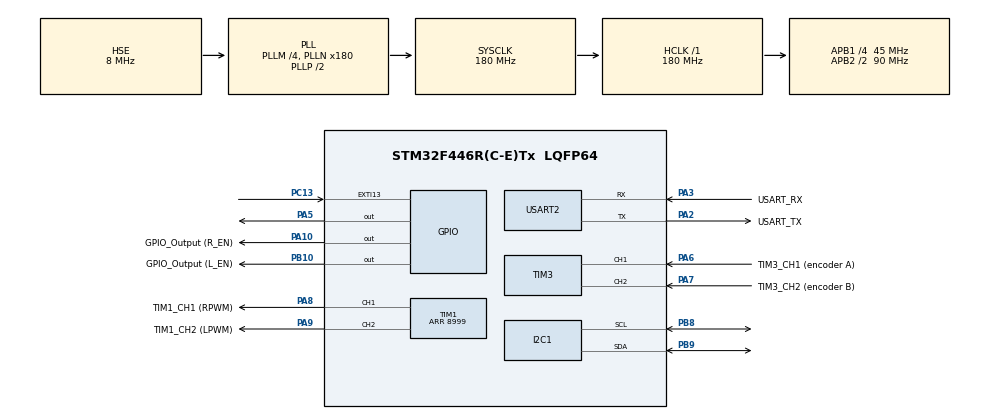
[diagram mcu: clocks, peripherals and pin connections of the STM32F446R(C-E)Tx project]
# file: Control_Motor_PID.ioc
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I2C1.I2C_Mode=I2C_Fast
Mcu.Family=STM32F4
Mcu.Name=STM32F446R(C-E)Tx
Mcu.Package=LQFP64
NUCLEO-F446RE.BUTTON=1
NUCLEO-F446RE.LD1=true
NVIC.EXTI15_10_IRQn=true\:0\:0\:false\:false\:true\:false\:true\:true
NVIC.PriorityGroup=NVIC_PRIORITYGROUP_0
NVIC.TIM2_IRQn=true\:0\:0\:false\:false\:true\:true\:true\:true
NVIC.USART2_IRQn=true\:0\:0\:false\:false\:true\:true\:true\:true
PA10.GPIO_Label=GPIO_Output (R_EN)
PA10.Signal=GPIO_Output
PA13.GPIO_Label=TMS
PA13.Mode=Serial_Wire
PA13.Signal=SYS_JTMS-SWDIO
PA14.GPIO_Label=TCK
PA14.Mode=Serial_Wire
PA14.Signal=SYS_JTCK-SWCLK
PA2.GPIO_Label=USART_TX
PA2.Mode=Asynchronous
PA2.Signal=USART2_TX
PA3.GPIO_Label=USART_RX
PA3.Mode=Asynchronous
PA3.Signal=USART2_RX
PA5.Signal=GPIO_Output
PA6.GPIO_Label=TIM3_CH1 (encoder A)
PA6.Signal=S_TIM3_CH1
PA7.GPIO_Label=TIM3_CH2 (encoder B)
PA7.Signal=S_TIM3_CH2
PA8.GPIO_Label=TIM1_CH1 (RPWM)
PA8.Signal=S_TIM1_CH1
PA9.GPIO_Label=TIM1_CH2 (LPWM)
PA9.Signal=S_TIM1_CH2
PB10.GPIO_Label=GPIO_Output (L_EN)
PB10.Signal=GPIO_Output
PB3.GPIO_Label=SWO
PB3.Signal=SYS_JTDO-SWO
PB8.Mode=I2C
PB8.Signal=I2C1_SCL
PB9.Mode=I2C
PB9.Signal=I2C1_SDA
PC13.Signal=GPXTI13
PC14-OSC32_IN.Signal=RCC_OSC32_IN
PC15-OSC32_OUT.Signal=RCC_OSC32_OUT
PH0-OSC_IN.Mode=HSE-External-Clock-Source
PH0-OSC_IN.Signal=RCC_OSC_IN
PH1-OSC_OUT.Mode=HSE-External-Clock-Source
PH1-OSC_OUT.Signal=RCC_OSC_OUT
ProjectManager.HeapSize=0x200
ProjectManager.StackSize=0x400
ProjectManager.TargetToolchain=CMake
RCC.AHBFreq_Value=180000000
RCC.APB1CLKDivider=RCC_HCLK_DIV4
RCC.APB1Freq_Value=45000000
RCC.APB1TimFreq_Value=90000000
RCC.APB2CLKDivider=RCC_HCLK_DIV2
RCC.APB2Freq_Value=90000000
RCC.APB2TimFreq_Value=180000000
RCC.CortexFreq_Value=180000000
RCC.FLatency-AdvancedSettings=FLASH_LATENCY_5
RCC.HCLKFreq_Value=180000000
RCC.HSE_VALUE=8000000
RCC.HSI_VALUE=16000000
RCC.LSE_VALUE=32768
RCC.PLLM=4
RCC.PLLN=180
RCC.PLLSourceVirtual=RCC_PLLSOURCE_HSE
RCC.SYSCLKFreq_VALUE=180000000
RCC.SYSCLKSource=RCC_SYSCLKSOURCE_PLLCLK
RCC.USBFreq_Value=180000000
RCC.VCOOutputFreq_Value=360000000
SH.S_TIM1_CH1.0=TIM1_CH1,PWM Generation1 CH1
SH.S_TIM1_CH2.0=TIM1_CH2,PWM Generation2 CH2
SH.S_TIM3_CH1.0=TIM3_CH1,Encoder_Interface
SH.S_TIM3_CH2.0=TIM3_CH2,Encoder_Interface
TIM1.AutoReloadPreload=TIM_AUTORELOAD_PRELOAD_ENABLE
TIM1.Channel-PWM\ Generation1\ CH1=TIM_CHANNEL_1
TIM1.Channel-PWM\ Generation2\ CH2=TIM_CHANNEL_2
TIM1.Period=8999
TIM2.AutoReloadPreload=TIM_AUTORELOAD_PRELOAD_ENABLE
TIM2.Period=899999
TIM3.EncoderMode=TIM_ENCODERMODE_TI12
USART2.VirtualMode=VM_ASYNC
VP_NUCLEO-F446RE_VS_BSP_COMMON.Mode=COMMON
VP_TIM1_VS_ClockSourceINT.Mode=Internal
VP_TIM2_VS_ClockSourceINT.Mode=Internal
board=NUCLEO-F446RE

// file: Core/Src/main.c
/* USER CODE BEGIN Header */
/**
  ******************************************************************************
  * @file           : main.c
  * @brief          : Main program body
  ******************************************************************************
  * @attention
  *
  * Copyright (c) 2026 STMicroelectronics.
  * All rights reserved.
  *
  * This software is licensed under terms that can be found in the LICENSE file
  * in the root directory of this software component.
  * If no LICENSE file comes with this software, it is provided AS-IS.
  *
  ******************************************************************************
  */
/* USER CODE END Header */
#include "main.h"

/* USER CODE BEGIN Includes */
#include "control_velocidad.h"
#include "pantalla_oled.h"
#include "telemetria_serial.h"
#include "experimento_pwm.h"
#include "comando_serial.h"
/* USER CODE END Includes */

I2C_HandleTypeDef hi2c1;

TIM_HandleTypeDef htim1;
TIM_HandleTypeDef htim2;
TIM_HandleTypeDef htim3;

UART_HandleTypeDef huart2;

void SystemClock_Config(void);
static void MX_GPIO_Init(void);
static void MX_TIM1_Init(void);
static void MX_TIM3_Init(void);
static void MX_TIM2_Init(void);
static void MX_I2C1_Init(void);
static void MX_USART2_UART_Init(void);

int main(void)
{

  /* MCU Configuration--------------------------------------------------------*/

  /* Reset of all peripherals, Initializes the Flash interface and the Systick. */
  HAL_Init();

  /* Configure the system clock */
  SystemClock_Config();

  /* Initialize all configured peripherals */
  MX_GPIO_Init();
  MX_TIM1_Init();
  MX_TIM3_Init();
  MX_TIM2_Init();
  MX_I2C1_Init();
  MX_USART2_UART_Init();
  /* USER CODE BEGIN 2 */
  HAL_TIM_Encoder_Start(&htim3, TIM_CHANNEL_ALL); // Inicia el encoder

  HAL_TIM_PWM_Start(&htim1, TIM_CHANNEL_1); // Inicia el PWM en el canal 1
  HAL_TIM_PWM_Start(&htim1, TIM_CHANNEL_2); // Inicia el PWM en el canal 2

  HAL_TIM_Base_Start_IT(&htim2); //Inicia el timer 2 y habilita la interrupción para el timer 2

  /* Orden que pide control_velocidad.h: timers arrancados, luego la pantalla, luego el control. */
  pantalla_oled_inicializar(&hi2c1);   /* hi2c1: lo genera CubeMX al activar I2C1 */
  control_velocidad_iniciar();         /* deja el motor parado en IDLE */
  control_velocidad_fijar_referencia(200.0f); /* referencia de prueba del PI: 200 RPM */
  experimento_pwm_iniciar();           /* experimentos de identificacion: referencia en 0, espera el boton */
  comando_serial_iniciar();            /* escucha la referencia por la terminal serie */
  /* USER CODE END 2 */

  /* Initialize leds */
  BSP_LED_Init(LED2);

  /* Initialize USER push-button, will be used to trigger an interrupt each time it's pressed.*/
  BSP_PB_Init(BUTTON_USER, BUTTON_MODE_EXTI);

  /* Infinite loop */
  while (1)
  {

    /* USER CODE BEGIN 3 */
    control_velocidad_ejecutar();  /* medir -> calcular -> actuar (cada 10 ms) */
    comando_serial_actualizar();   /* nueva referencia escrita en la terminal (ej. 150 + Enter) */
    experimento_pwm_actualizar();    /* escalon / PRBS9: manda los datos por serial al terminar cada prueba */
    if (!experimento_pwm_activo()) {
      telemetria_serial_actualizar();  /* RPM por puerto serie cada 100 ms */
    }
  }
  /* USER CODE END 3 */
}

void SystemClock_Config(void)
{
  RCC_OscInitTypeDef RCC_OscInitStruct = {0};
  RCC_ClkInitTypeDef RCC_ClkInitStruct = {0};

  /** Configure the main internal regulator output voltage
  */
  __HAL_RCC_PWR_CLK_ENABLE();
  __HAL_PWR_VOLTAGESCALING_CONFIG(PWR_REGULATOR_VOLTAGE_SCALE1);

  /** Initializes the RCC Oscillators according to the specified parameters
  * in the RCC_OscInitTypeDef structure.
  */
  RCC_OscInitStruct.OscillatorType = RCC_OSCILLATORTYPE_HSE;
  RCC_OscInitStruct.HSEState = RCC_HSE_BYPASS;
  RCC_OscInitStruct.PLL.PLLState = RCC_PLL_ON;
  RCC_OscInitStruct.PLL.PLLSource = RCC_PLLSOURCE_HSE;
  RCC_OscInitStruct.PLL.PLLM = 4;
  RCC_OscInitStruct.PLL.PLLN = 180;
  RCC_OscInitStruct.PLL.PLLP = RCC_PLLP_DIV2;
  RCC_OscInitStruct.PLL.PLLQ = 2;
  RCC_OscInitStruct.PLL.PLLR = 2;
  if (HAL_RCC_OscConfig(&RCC_OscInitStruct) != HAL_OK)
  {
    Error_Handler();
  }

  /** Activate the Over-Drive mode
  */
  if (HAL_PWREx_EnableOverDrive() != HAL_OK)
  {
    Error_Handler();
  }

  /** Initializes the CPU, AHB and APB buses clocks
  */
  RCC_ClkInitStruct.ClockType = RCC_CLOCKTYPE_HCLK|RCC_CLOCKTYPE_SYSCLK
                              |RCC_CLOCKTYPE_PCLK1|RCC_CLOCKTYPE_PCLK2;
  RCC_ClkInitStruct.SYSCLKSource = RCC_SYSCLKSOURCE_PLLCLK;
  RCC_ClkInitStruct.AHBCLKDivider = RCC_SYSCLK_DIV1;
  RCC_ClkInitStruct.APB1CLKDivider = RCC_HCLK_DIV4;
  RCC_ClkInitStruct.APB2CLKDivider = RCC_HCLK_DIV2;

  if (HAL_RCC_ClockConfig(&RCC_ClkInitStruct, FLASH_LATENCY_5) != HAL_OK)
  {
    Error_Handler();
  }
}

static void MX_I2C1_Init(void)
{

  hi2c1.Instance = I2C1;
  hi2c1.Init.ClockSpeed = 400000;
  hi2c1.Init.DutyCycle = I2C_DUTYCYCLE_2;
  hi2c1.Init.OwnAddress1 = 0;
  hi2c1.Init.AddressingMode = I2C_ADDRESSINGMODE_7BIT;
  hi2c1.Init.DualAddressMode = I2C_DUALADDRESS_DISABLE;
  hi2c1.Init.OwnAddress2 = 0;
  hi2c1.Init.GeneralCallMode = I2C_GENERALCALL_DISABLE;
  hi2c1.Init.NoStretchMode = I2C_NOSTRETCH_DISABLE;
  if (HAL_I2C_Init(&hi2c1) != HAL_OK)
  {
    Error_Handler();
  }

}

static void MX_TIM1_Init(void)
{

  TIM_ClockConfigTypeDef sClockSourceConfig = {0};
  TIM_MasterConfigTypeDef sMasterConfig = {0};
  TIM_OC_InitTypeDef sConfigOC = {0};
  TIM_BreakDeadTimeConfigTypeDef sBreakDeadTimeConfig = {0};

  htim1.Instance = TIM1;
  htim1.Init.Prescaler = 0;
  htim1.Init.CounterMode = TIM_COUNTERMODE_UP;
  htim1.Init.Period = 8999;
  htim1.Init.ClockDivision = TIM_CLOCKDIVISION_DIV1;
  htim1.Init.RepetitionCounter = 0;
  htim1.Init.AutoReloadPreload = TIM_AUTORELOAD_PRELOAD_ENABLE;
  if (HAL_TIM_Base_Init(&htim1) != HAL_OK)
  {
    Error_Handler();
  }
  sClockSourceConfig.ClockSource = TIM_CLOCKSOURCE_INTERNAL;
  if (HAL_TIM_ConfigClockSource(&htim1, &sClockSourceConfig) != HAL_OK)
  {
    Error_Handler();
  }
  if (HAL_TIM_PWM_Init(&htim1) != HAL_OK)
  {
    Error_Handler();
  }
  sMasterConfig.MasterOutputTrigger = TIM_TRGO_RESET;
  sMasterConfig.MasterSlaveMode = TIM_MASTERSLAVEMODE_DISABLE;
  if (HAL_TIMEx_MasterConfigSynchronization(&htim1, &sMasterConfig) != HAL_OK)
  {
    Error_Handler();
  }
  sConfigOC.OCMode = TIM_OCMODE_PWM1;
  sConfigOC.Pulse = 0;
  sConfigOC.OCPolarity = TIM_OCPOLARITY_HIGH;
  sConfigOC.OCNPolarity = TIM_OCNPOLARITY_HIGH;
  sConfigOC.OCFastMode = TIM_OCFAST_DISABLE;
  sConfigOC.OCIdleState = TIM_OCIDLESTATE_RESET;
  sConfigOC.OCNIdleState = TIM_OCNIDLESTATE_RESET;
  if (HAL_TIM_PWM_ConfigChannel(&htim1, &sConfigOC, TIM_CHANNEL_1) != HAL_OK)
  {
    Error_Handler();
  }
  if (HAL_TIM_PWM_ConfigChannel(&htim1, &sConfigOC, TIM_CHANNEL_2) != HAL_OK)
  {
    Error_Handler();
  }
  sBreakDeadTimeConfig.OffStateRunMode = TIM_OSSR_DISABLE;
  sBreakDeadTimeConfig.OffStateIDLEMode = TIM_OSSI_DISABLE;
  sBreakDeadTimeConfig.LockLevel = TIM_LOCKLEVEL_OFF;
  sBreakDeadTimeConfig.DeadTime = 0;
  sBreakDeadTimeConfig.BreakState = TIM_BREAK_DISABLE;
  sBreakDeadTimeConfig.BreakPolarity = TIM_BREAKPOLARITY_HIGH;
  sBreakDeadTimeConfig.AutomaticOutput = TIM_AUTOMATICOUTPUT_DISABLE;
  if (HAL_TIMEx_ConfigBreakDeadTime(&htim1, &sBreakDeadTimeConfig) != HAL_OK)
  {
    Error_Handler();
  }
  HAL_TIM_MspPostInit(&htim1);

}

static void MX_TIM2_Init(void)
{

  TIM_ClockConfigTypeDef sClockSourceConfig = {0};
  TIM_MasterConfigTypeDef sMasterConfig = {0};

  htim2.Instance = TIM2;
  htim2.Init.Prescaler = 0;
  htim2.Init.CounterMode = TIM_COUNTERMODE_UP;
  htim2.Init.Period = 899999;
  htim2.Init.ClockDivision = TIM_CLOCKDIVISION_DIV1;
  htim2.Init.AutoReloadPreload = TIM_AUTORELOAD_PRELOAD_ENABLE;
  if (HAL_TIM_Base_Init(&htim2) != HAL_OK)
  {
    Error_Handler();
  }
  sClockSourceConfig.ClockSource = TIM_CLOCKSOURCE_INTERNAL;
  if (HAL_TIM_ConfigClockSource(&htim2, &sClockSourceConfig) != HAL_OK)
  {
    Error_Handler();
  }
  sMasterConfig.MasterOutputTrigger = TIM_TRGO_RESET;
  sMasterConfig.MasterSlaveMode = TIM_MASTERSLAVEMODE_DISABLE;
  if (HAL_TIMEx_MasterConfigSynchronization(&htim2, &sMasterConfig) != HAL_OK)
  {
    Error_Handler();
  }

}

static void MX_TIM3_Init(void)
{

  TIM_Encoder_InitTypeDef sConfig = {0};
  TIM_MasterConfigTypeDef sMasterConfig = {0};

  htim3.Instance = TIM3;
  htim3.Init.Prescaler = 0;
  htim3.Init.CounterMode = TIM_COUNTERMODE_UP;
  htim3.Init.Period = 65535;
  htim3.Init.ClockDivision = TIM_CLOCKDIVISION_DIV1;
  htim3.Init.AutoReloadPreload = TIM_AUTORELOAD_PRELOAD_DISABLE;
  sConfig.EncoderMode = TIM_ENCODERMODE_TI12;
  sConfig.IC1Polarity = TIM_ICPOLARITY_RISING;
  sConfig.IC1Selection = TIM_ICSELECTION_DIRECTTI;
  sConfig.IC1Prescaler = TIM_ICPSC_DIV1;
  sConfig.IC1Filter = 0;
  sConfig.IC2Polarity = TIM_ICPOLARITY_RISING;
  sConfig.IC2Selection = TIM_ICSELECTION_DIRECTTI;
  sConfig.IC2Prescaler = TIM_ICPSC_DIV1;
  sConfig.IC2Filter = 0;
  if (HAL_TIM_Encoder_Init(&htim3, &sConfig) != HAL_OK)
  {
    Error_Handler();
  }
  sMasterConfig.MasterOutputTrigger = TIM_TRGO_RESET;
  sMasterConfig.MasterSlaveMode = TIM_MASTERSLAVEMODE_DISABLE;
  if (HAL_TIMEx_MasterConfigSynchronization(&htim3, &sMasterConfig) != HAL_OK)
  {
    Error_Handler();
  }

}

static void MX_USART2_UART_Init(void)
{

  huart2.Instance = USART2;
  huart2.Init.BaudRate = 115200;
  huart2.Init.WordLength = UART_WORDLENGTH_8B;
  huart2.Init.StopBits = UART_STOPBITS_1;
  huart2.Init.Parity = UART_PARITY_NONE;
  huart2.Init.Mode = UART_MODE_TX_RX;
  huart2.Init.HwFlowCtl = UART_HWCONTROL_NONE;
  huart2.Init.OverSampling = UART_OVERSAMPLING_16;
  if (HAL_UART_Init(&huart2) != HAL_OK)
  {
    Error_Handler();
  }

}

static void MX_GPIO_Init(void)
{
  GPIO_InitTypeDef GPIO_InitStruct = {0};

  /* GPIO Ports Clock Enable */
  __HAL_RCC_GPIOC_CLK_ENABLE();
  __HAL_RCC_GPIOH_CLK_ENABLE();
  __HAL_RCC_GPIOA_CLK_ENABLE();
  __HAL_RCC_GPIOB_CLK_ENABLE();

  /*Configure GPIO pin Output Level */
  HAL_GPIO_WritePin(GPIO_Output_GPIO_Port, GPIO_Output_Pin, GPIO_PIN_RESET);

  /*Configure GPIO pin Output Level */
  HAL_GPIO_WritePin(GPIO_OutputA10_GPIO_Port, GPIO_OutputA10_Pin, GPIO_PIN_RESET);

  /*Configure GPIO pin : GPIO_Output_Pin */
  GPIO_InitStruct.Pin = GPIO_Output_Pin;
  GPIO_InitStruct.Mode = GPIO_MODE_OUTPUT_PP;
  GPIO_InitStruct.Pull = GPIO_NOPULL;
  GPIO_InitStruct.Speed = GPIO_SPEED_FREQ_LOW;
  HAL_GPIO_Init(GPIO_Output_GPIO_Port, &GPIO_InitStruct);

  /*Configure GPIO pin : GPIO_OutputA10_Pin */
  GPIO_InitStruct.Pin = GPIO_OutputA10_Pin;
  GPIO_InitStruct.Mode = GPIO_MODE_OUTPUT_PP;
  GPIO_InitStruct.Pull = GPIO_NOPULL;
  GPIO_InitStruct.Speed = GPIO_SPEED_FREQ_LOW;
  HAL_GPIO_Init(GPIO_OutputA10_GPIO_Port, &GPIO_InitStruct);

}

/* USER CODE BEGIN 4 */
/* Boton azul (PC13): arranca el motor; si ya esta en RUN, lo detiene.
 * Antirrebote simple: ignora pulsaciones a menos de 200 ms de la anterior. */
void HAL_GPIO_EXTI_Callback(uint16_t GPIO_Pin)
{
    static uint32_t ultimo_ms = 0;

    if (GPIO_Pin == USER_BUTTON_PIN) {
        uint32_t ahora = HAL_GetTick();
        if ((ahora - ultimo_ms) < 200u) {
            return;
        }
        ultimo_ms = ahora;

        if (!control_velocidad_arrancar()) {
            (void)control_velocidad_detener();
        }
    }
}
/* USER CODE END 4 */

void Error_Handler(void)
{
  __disable_irq();
  while (1)
  {
  }
}
